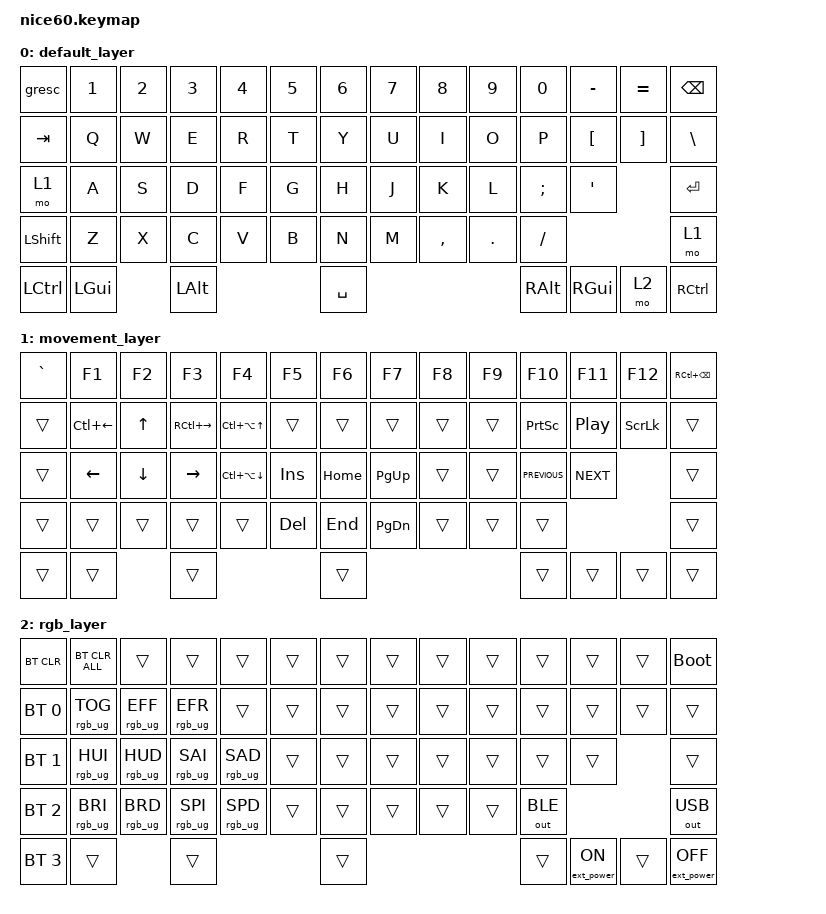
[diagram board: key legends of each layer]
/*
 * Copyright (c) 2021 Nick Winans
 *
 * SPDX-License-Identifier: MIT
 */

#include <behaviors.dtsi>
#include <dt-bindings/zmk/keys.h>
#include <dt-bindings/zmk/rgb.h>
#include <dt-bindings/zmk/bt.h>
#include <dt-bindings/zmk/outputs.h>
#include <dt-bindings/zmk/reset.h>
#include <dt-bindings/zmk/ext_power.h>

/ {
    keymap {
        compatible = "zmk,keymap";

        default_layer {
            bindings = <
&gresc     &kp N1    &kp N2  &kp N3    &kp N4  &kp N5  &kp N6     &kp N7  &kp N8     &kp N9   &kp N0    &kp MINUS  &kp EQUAL  &kp BSPC
&kp TAB    &kp Q     &kp W   &kp E     &kp R   &kp T   &kp Y      &kp U   &kp I      &kp O    &kp P     &kp LBKT   &kp RBKT   &kp BSLH
&mo 1      &kp A     &kp S   &kp D     &kp F   &kp G   &kp H      &kp J   &kp K      &kp L    &kp SEMI  &kp SQT               &kp RET
&kp LSHFT  &kp Z     &kp X   &kp C     &kp V   &kp B   &kp N      &kp M   &kp COMMA  &kp DOT  &kp FSLH                        &mo 1
&kp LCTRL  &kp LGUI          &kp LALT                  &kp SPACE                              &kp RALT  &kp RGUI   &mo 2      &kp RCTRL
            >;
        };

        movement_layer {
            bindings = <
&kp GRAVE  &kp F1              &kp F2          &kp F3               &kp F4                  &kp F5      &kp F6    &kp F7         &kp F8  &kp F9  &kp F10          &kp F11           &kp F12         &kp RC(BACKSPACE)
&trans     &kp LC(LEFT_ARROW)  &kp UP_ARROW    &kp RC(RIGHT_ARROW)  &kp LC(LA(UP_ARROW))    &trans      &trans    &trans         &trans  &trans  &kp PRINTSCREEN  &kp C_PLAY_PAUSE  &kp SCROLLLOCK  &trans
&trans     &kp LEFT_ARROW      &kp DOWN_ARROW  &kp RIGHT_ARROW      &kp LC(LA(DOWN_ARROW))  &kp INSERT  &kp HOME  &kp PAGE_UP    &trans  &trans  &kp C_PREVIOUS   &kp C_NEXT                        &trans
&trans     &trans              &trans          &trans               &trans                  &kp DELETE  &kp END   &kp PAGE_DOWN  &trans  &trans  &trans                                             &trans
&trans     &trans                              &trans                                                   &trans                                   &trans           &trans            &trans          &trans
            >;
        };

        rgb_layer {
            bindings = <
&bt BT_CLR    &bt BT_CLR_ALL   &trans           &trans           &trans           &trans  &trans  &trans  &trans  &trans  &trans        &trans            &trans  &bootloader
&bt BT_SEL 0  &rgb_ug RGB_TOG  &rgb_ug RGB_EFF  &rgb_ug RGB_EFR  &trans           &trans  &trans  &trans  &trans  &trans  &trans        &trans            &trans  &trans
&bt BT_SEL 1  &rgb_ug RGB_HUI  &rgb_ug RGB_HUD  &rgb_ug RGB_SAI  &rgb_ug RGB_SAD  &trans  &trans  &trans  &trans  &trans  &trans        &trans                    &trans
&bt BT_SEL 2  &rgb_ug RGB_BRI  &rgb_ug RGB_BRD  &rgb_ug RGB_SPI  &rgb_ug RGB_SPD  &trans  &trans  &trans  &trans  &trans  &out OUT_BLE                            &out OUT_USB
&bt BT_SEL 3  &trans                            &trans                                    &trans                          &trans        &ext_power EP_ON  &trans  &ext_power EP_OFF
            >;
        };

        extra1 {
          status = "reserved";
        };

        extra2 {
          status = "reserved";
        };

        extra3 {
          status = "reserved";
        };
    };
};
